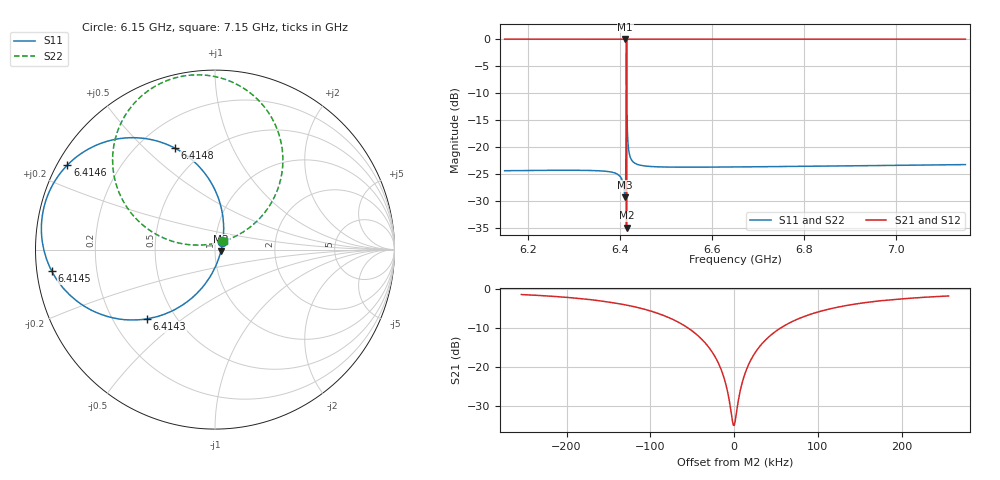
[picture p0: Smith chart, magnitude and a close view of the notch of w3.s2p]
! Sonnet Data File
! From: em Version : 14.52
! From Project: w3
! Data is De-embedded
! Data File Written: 07/15/2018 11:35:19
!< HDATE 07/13/2018 23:52:36
!< MDATE 07/15/2018 10:07:41
# GHZ S MA R 50.00000
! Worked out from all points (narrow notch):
!   862 points, 6.15 GHz to 7.15 GHz, reference 50 ohm
!   highest |S21| = -0.01 dB at 6.4114 GHz (marker M1); lowest = -35.0 dB at 6.4146 GHz (marker M2)
!   notch at M2: 34.8 dB deep, 43.4 kHz wide at half that depth
!   lowest |S11| = -29.4 dB at 6.4114 GHz (marker M3), VSWR 1.07, Z = 53.4 - j0.743 ohm
!   |S11| at or under -10 dB: start of sweep to 6.4141 GHz; 6.4151 GHz to end of sweep
!   |S22| runs from -29.3 to -0.1 dB; largest |S21 - S12| = 0
!   S11 on the Smith chart (normalised r, x): 6.15 GHz: 1.08, +0.10; 6.4143 GHz: 0.35, -0.38; 6.4145 GHz: 0.04, -0.07; 6.4146 GHz: 0.03, +0.27; 6.4148 GHz: 0.35, +0.62; 7.15 GHz: 1.10, +0.10
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6.15  0.06006 47.6  0.9982 -41.7  0.9982 -41.7  0.06006 48.9
!< P1 F=6.15 Eeff=(5.67104614 -5.1685e-6) Z0=(55.9243575 2.54874e-5) R=0.00799243 C=0.00296644
!< P2 F=6.15 Eeff=(5.67104106 -5.1685e-6) Z0=(55.8945573 2.5474e-5) R=0.00799718 C=0.00296387
6.32  0.06051 45.8  0.9982 -43.0  0.9982 -43.0  0.0605 48.3
6.4  0.05356 39.1  0.9986 -44.0  0.9986 -44.0  0.05357 52.8
6.4114  0.034 -11.8  0.9994 -46.4  0.9994 -46.4  0.03409 99.0
6.4136  0.1203 -94.6  0.9922 -53.1  0.9922 -53.1  0.1205 167.8
6.41409  0.2811 -114.0  0.9576 -62.7  0.9576 -62.7  0.2816 167.7
6.41433  0.54 -134.4  0.8341 -79.2  0.8341 -79.2  0.5408 154.6
6.414502  0.9176 -172.5  0.3541 -113.0  0.3541 -113.0  0.9188 121.0
6.414541  0.9724 174.1  0.137 -121.3  0.137 -121.3  0.9736 108.5
6.414564  0.9818 165.8  0.01779 -38.8  0.01779 -38.8  0.983 100.9
6.414582  0.9759 159.4  0.1123 28.3  0.1123 28.3  0.9771 94.9
6.414609  0.9475 150.2  0.2641 24.6  0.2641 24.6  0.9487 86.3
6.414675  0.8216 131.4  0.5491 8.7  0.5491 8.7  0.8226 69.0
6.41479  0.6062 111.4  0.7878 -9.2  0.7878 -9.2  0.6069 51.5
6.41533  0.2578 83.6  0.9654 -31.7  0.9654 -31.7  0.258 33.3
6.4168  0.129 68.0  0.9915 -39.4  0.9915 -39.4  0.129 33.4
6.4222  0.08133 55.5  0.9967 -42.3  0.9967 -42.3  0.08134 39.9
6.485  0.06517 46.9  0.9979 -43.8  0.9979 -43.8  0.06518 45.4
6.65  0.06507 44.9  0.9979 -45.0  0.9979 -45.0  0.06509 45.0
6.82  0.0661 43.6  0.9978 -46.2  0.9978 -46.2  0.06614 44.0
6.985  0.06724 42.5  0.9978 -47.3  0.9978 -47.3  0.06727 42.9
7.15  0.06843 41.3  0.9977 -48.5  0.9977 -48.5  0.06843 41.8
